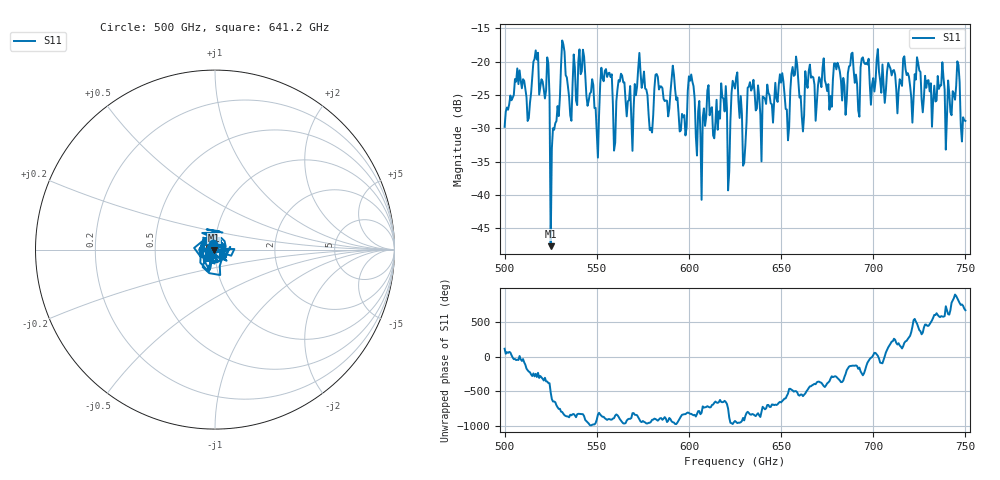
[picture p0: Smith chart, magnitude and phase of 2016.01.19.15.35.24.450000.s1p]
!Created with skrf (http://scikit-rf.org).
# GHz S RI R 50.0
!freq ReS11 ImS11
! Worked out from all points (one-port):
!   401 points, 500 GHz to 750 GHz, reference 50 ohm
!   lowest |S11| = -47.7 dB at 525 GHz (marker M1), VSWR 1.01, Z = 49.6 - j0.175 ohm
!   |S11| at or under -10 dB: start of sweep to end of sweep
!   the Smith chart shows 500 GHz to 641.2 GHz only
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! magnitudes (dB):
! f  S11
! 500 GHz  -29.8
! 506.9 GHz  -21.0
! 513.1 GHz  -28.5
! 516.9 GHz  -18.3
! 523.1 GHz  -19.3
! 525 GHz  -47.7
! 531.2 GHz  -16.8
! 535.6 GHz  -28.1
! 541.9 GHz  -21.4
! 550 GHz  -30.5
! 553.8 GHz  -22.9
! 560 GHz  -32.1
! 562.5 GHz  -23.0
! 593.8 GHz  -25.3
! 601.2 GHz  -21.9
! 605.6 GHz  -25.9
! 618.8 GHz  -25.5
! 621.9 GHz  -36.5
! 625 GHz  -24.0
! 630 GHz  -35.2
! 633.8 GHz  -24.3
! 653.1 GHz  -27.2
! 656.2 GHz  -20.8
! 661.2 GHz  -28.2
! 687.5 GHz  -20.6
! 718.8 GHz  -21.7
! 745.6 GHz  -19.9
! 750 GHz  -28.9
